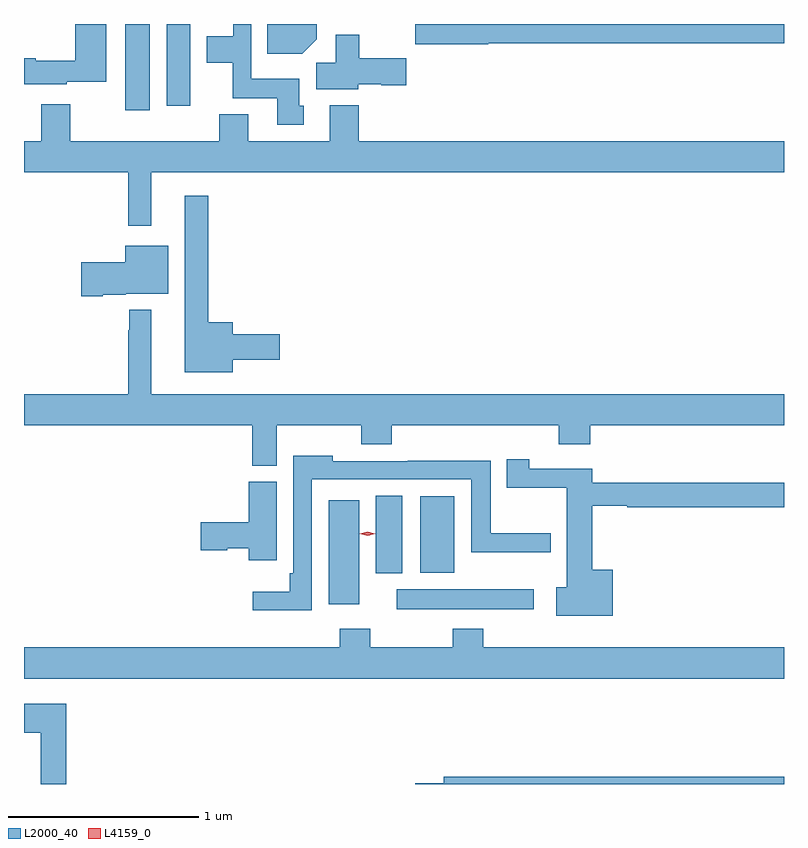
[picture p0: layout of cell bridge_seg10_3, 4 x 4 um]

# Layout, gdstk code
import gdstk
lib = gdstk.Library(unit=1e-6, precision=1e-09)
def R(c, l, rs):  # rectangles x0, y0, x1, y1
    for r in rs: c.add(gdstk.rectangle(r[:2], r[2:], *l))
def P(c, l, *ps):  # polygons
    for p in ps: c.add(gdstk.Polygon(p, *l))
L2000_40 = (2000, 40)
L4159_0 = (4159, 0)

bridge_seg10_3 = lib.new_cell('bridge_seg10_3')
R(bridge_seg10_3, L2000_40, [(1080.099,1251.398,1080.82,1251.502), (1079.741,1251.423,1079.902,1251.97), (1079.99,1251.587,1080.13,1251.995), (1080.224,1251.59,1080.403,1251.991), (1078.67,1254.024,1078.801,1254.477), (1078.889,1254.048,1079.014,1254.477)])
P(bridge_seg10_3, L2000_40, [(1079.68,1254.398),(1079.68,1254.477),(1079.419,1254.477),(1079.419,1254.32),(1079.602,1254.32)],
  [(1079.611,1254.048),(1079.587,1254.048),(1079.587,1254.19),(1079.334,1254.19),(1079.334,1254.477),(1079.238,1254.477),(1079.238,1254.412),(1079.099,1254.412),(1079.099,1254.272),(1079.236,1254.272),(1079.236,1254.086),(1079.471,1254.086),(1079.471,1253.946),(1079.611,1253.946)],
  [(1078.362,1254.173),(1078.57,1254.173),(1078.57,1254.477),(1078.408,1254.477),(1078.408,1254.283),(1078.2,1254.283),(1078.2,1254.298),(1078.138,1254.298),(1078.138,1254.161),(1078.362,1254.161)],
  [(1080.582,1254.376),(1082.138,1254.376),(1082.138,1254.477),(1080.198,1254.477),(1080.198,1254.371),(1080.582,1254.371)],
  [(1079.898,1254.161),(1080.018,1254.161),(1080.018,1254.154),(1080.151,1254.154),(1080.151,1254.296),(1079.902,1254.296),(1079.902,1254.421),(1079.78,1254.421),(1079.78,1254.272),(1079.675,1254.272),(1079.675,1254.134),(1079.898,1254.134)],
  [(1078.807,1253.696),(1082.138,1253.696),(1082.138,1253.86),(1079.9,1253.86),(1079.9,1254.049),(1079.747,1254.049),(1079.747,1253.86),(1079.317,1253.86),(1079.317,1254.001),(1079.165,1254.001),(1079.165,1253.86),(1078.381,1253.86),(1078.381,1254.055),(1078.229,1254.055),(1078.229,1253.86),(1078.138,1253.86),(1078.138,1253.696),(1078.686,1253.696),(1078.686,1253.415),(1078.807,1253.415)],
  [(1079.236,1252.709),(1079.485,1252.709),(1079.485,1252.844),(1079.236,1252.844),(1079.236,1252.906),(1079.107,1252.906),(1079.107,1253.572),(1078.985,1253.572),(1078.985,1252.643),(1079.236,1252.643)],
  [(1078.552,1253.051),(1078.674,1253.051),(1078.674,1253.057),(1078.897,1253.057),(1078.897,1253.311),(1078.67,1253.311),(1078.67,1253.223),(1078.44,1253.223),(1078.44,1253.045),(1078.552,1253.045)],
  [(1079.467,1252.364),(1079.914,1252.364),(1079.914,1252.265),(1080.074,1252.265),(1080.074,1252.364),(1080.953,1252.364),(1080.953,1252.265),(1081.118,1252.265),(1081.118,1252.364),(1082.138,1252.364),(1082.138,1252.528),(1078.807,1252.528),(1078.807,1252.972),(1078.693,1252.972),(1078.693,1252.865),(1078.686,1252.865),(1078.686,1252.528),(1078.138,1252.528),(1078.138,1252.364),(1079.339,1252.364),(1079.339,1252.153),(1079.467,1252.153)],
  [(1079.652,1252.08),(1080.491,1252.08),(1080.491,1251.698),(1080.91,1251.698),(1080.91,1251.798),(1080.595,1251.798),(1080.595,1252.178),(1080.157,1252.178),(1080.157,1252.176),(1079.763,1252.176),(1079.763,1252.204),(1079.556,1252.204),(1079.556,1251.586),(1079.536,1251.586),(1079.536,1251.49),(1079.343,1251.49),(1079.343,1251.392),(1079.652,1251.392)],
  [(1081.237,1251.604),(1081.13,1251.604),(1081.13,1251.942),(1081.313,1251.942),(1081.313,1251.934),(1082.138,1251.934),(1082.138,1252.063),(1081.13,1252.063),(1081.13,1252.135),(1080.798,1252.135),(1080.798,1252.186),(1080.68,1252.186),(1080.68,1252.036),(1080.995,1252.036),(1080.995,1251.512),(1080.939,1251.512),(1080.939,1251.362),(1081.237,1251.362)],
  [(1079.467,1252.068),(1079.321,1252.068),(1079.321,1251.854),(1079.067,1251.854),(1079.067,1251.707),(1079.208,1251.707),(1079.208,1251.719),(1079.321,1251.719),(1079.321,1251.654),(1079.467,1251.654)],
  [(1082.138,1251.196),(1080.554,1251.196),(1080.554,1251.295),(1080.394,1251.295),(1080.394,1251.196),(1079.961,1251.196),(1079.961,1251.295),(1079.801,1251.295),(1079.801,1251.196),(1078.138,1251.196),(1078.138,1251.032),(1082.138,1251.032)],
  [(1078.361,1250.899),(1078.138,1250.899),(1078.138,1250.747),(1078.226,1250.747),(1078.226,1250.477),(1078.361,1250.477)],
  [(1082.138,1250.516),(1080.347,1250.516),(1080.347,1250.48),(1080.198,1250.48),(1080.198,1250.477),(1082.138,1250.477)])
P(bridge_seg10_3, L4159_0, [(1079.946,1251.784),(1079.905,1251.793),(1079.905,1251.793),(1079.905,1251.794),(1079.946,1251.804),(1079.987,1251.795),(1079.987,1251.794),(1079.987,1251.794)])

lib.write_gds('bridge_seg10_3.gds')
